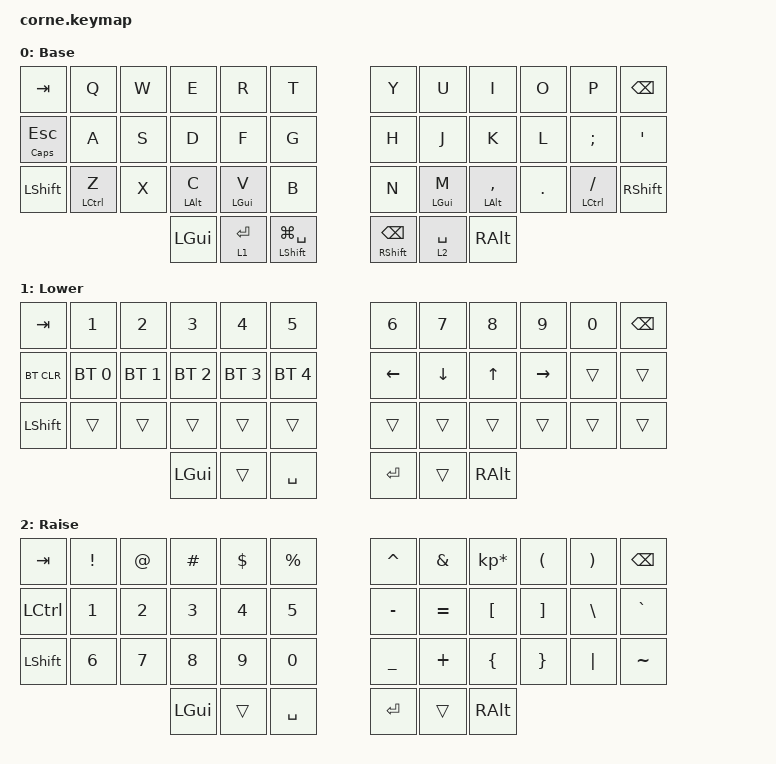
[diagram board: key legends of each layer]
/*
 * Copyright (c) 2020 The ZMK Contributors
 *
 * SPDX-License-Identifier: MIT
 */

#include <behaviors.dtsi>
#include <dt-bindings/zmk/bt.h>
#include <dt-bindings/zmk/keys.h>

/ {
    combos {
        compatible = "zmk,combos";

        Return {
            bindings = <&kp RETURN>;
            key-positions = <21 20>;
            timeout-ms = <40>;
            require-prior-idle-ms = <75>;
        };

        Escape {
            bindings = <&kp ESCAPE>;
            key-positions = <19 20>;
        };

        Backspace {
            bindings = <&kp BACKSPACE>;
            key-positions = <19 21>;
            timeout-ms = <40>;
            require-prior-idle-ms = <75>;
        };

        Delete {
            bindings = <&kp DELETE>;
            key-positions = <21 18>;
            timeout-ms = <40>;
            require-prior-idle-ms = <75>;
        };

        LeaderKey {
            bindings = <&kp F19>;
            key-positions = <16 19>;
            timeout-ms = <40>;
            require-prior-idle-ms = <75>;
        };

        HomerowClick {
            bindings = <&kp LS(LA(LC(LG(SPACE))))>;
            key-positions = <15 20>;
            timeout-ms = <40>;
            require-prior-idle-ms = <75>;
        };

        SelectAll {
            bindings = <&kp LG(A)>;
            key-positions = <16 2>;
            timeout-ms = <40>;
            require-prior-idle-ms = <75>;
        };

        Raycast {
            bindings = <&kp LA(SPACE)>;
            key-positions = <17 18>;
            timeout-ms = <40>;
            require-prior-idle-ms = <75>;
        };

        HomerowScroll {
            bindings = <&kp LA(LG(LC(J)))>;
            key-positions = <15 22>;
            timeout-ms = <40>;
            require-prior-idle-ms = <75>;
        };

        LeftClick {
            bindings = <&kp F16>;
            key-positions = <19 8>;
            timeout-ms = <40>;
            require-prior-idle-ms = <75>;
        };

        RightClick {
            bindings = <&kp F17>;
            key-positions = <19 9>;
            timeout-ms = <40>;
            require-prior-idle-ms = <75>;
        };

        Cut {
            bindings = <&kp LG(X)>;
            key-positions = <2 15>;
            timeout-ms = <40>;
            require-prior-idle-ms = <75>;
        };

        Copy {
            bindings = <&kp LG(C)>;
            key-positions = <15 19>;
            timeout-ms = <40>;
            require-prior-idle-ms = <75>;
        };

        Paste {
            bindings = <&kp LG(V)>;
            key-positions = <15 18>;
            timeout-ms = <40>;
            require-prior-idle-ms = <75>;
        };

        NextApp {
            bindings = <&kp LG(TAB)>;
            key-positions = <16 14>;
            timeout-ms = <40>;
            require-prior-idle-ms = <75>;
        };
    };

    behaviors {
        BMR: BMR {
            compatible = "zmk,behavior-hold-tap";
            label = "BMR";
            bindings = <&kp>, <&kp>;

            #binding-cells = <2>;
            flavor = "tap-preferred";
            tapping-term-ms = <230>;
            quick-tap-ms = <175>;
            hold-trigger-on-release;
            hold-trigger-key-positions = <37 36 38 39 40 41 0 1 2 3 4 5 12 13 14 15 16 17 24 25 26 27 28 29 36 37 38 31 32 33 34>;
        };
    };

    keymap {
        compatible = "zmk,keymap";

        default_layer {
            // -----------------------------------------------------------------------------------------
            // |  TAB |  Q  |  W  |  E  |  R  |  T  |   |  Y  |  U   |  I  |  O  |  P  | BKSP |
            // | CTRL |  A  |  S  |  D  |  F  |  G  |   |  H  |  J   |  K  |  L  |  ;  |  '   |
            // | SHFT |  Z  |  X  |  C  |  V  |  B  |   |  N  |  M   |  ,  |  .  |  /  | ESC  |
            //                    | GUI | LWR | SPC |   | ENT | RSE  | ALT |

            display-name = "Base";
            bindings = <
&kp TAB          &kp Q                &kp W  &kp E            &kp R            &kp T                       &kp Y                      &kp U            &kp I                &kp O    &kp P                   &kp BSPC
&mt CAPS ESCAPE  &kp A                &kp S  &kp D            &kp F            &kp G                       &kp H                      &kp J            &kp K                &kp L    &kp SEMI                &kp SQT
&kp LSHFT        &BMR LEFT_CONTROL Z  &kp X  &BMR LEFT_ALT C  &BMR LEFT_GUI V  &kp B                       &kp N                      &BMR LEFT_GUI M  &BMR LEFT_ALT COMMA  &kp DOT  &BMR LEFT_CONTROL FSLH  &kp RIGHT_SHIFT
                                             &kp LGUI         &lt 1 RETURN     &mt LEFT_SHIFT LG(SPACE)    &mt RIGHT_SHIFT BACKSPACE  &lt 2 SPACE      &kp RALT
            >;
        };

        lower_layer {
            // -----------------------------------------------------------------------------------------
            // |  TAB |  1  |  2  |  3  |  4  |  5  |   |  6  |  7  |  8  |  9  |  0  | BKSP |
            // | BTCLR| BT1 | BT2 | BT3 | BT4 | BT5 |   | LFT | DWN |  UP | RGT |     |      |
            // | SHFT |     |     |     |     |     |   |     |     |     |     |     |      |
            //                    | GUI |     | SPC |   | ENT |     | ALT |

            display-name = "Lower";
            bindings = <
&kp TAB     &kp N1        &kp N2        &kp N3        &kp N4        &kp N5          &kp N6    &kp N7    &kp N8    &kp N9     &kp N0  &kp BSPC
&bt BT_CLR  &bt BT_SEL 0  &bt BT_SEL 1  &bt BT_SEL 2  &bt BT_SEL 3  &bt BT_SEL 4    &kp LEFT  &kp DOWN  &kp UP    &kp RIGHT  &trans  &trans
&kp LSHFT   &trans        &trans        &trans        &trans        &trans          &trans    &trans    &trans    &trans     &trans  &trans
                                        &kp LGUI      &trans        &kp SPACE       &kp RET   &trans    &kp RALT
            >;
        };

        raise_layer {
            // -----------------------------------------------------------------------------------------
            // |  TAB |  !  |  @  |  #  |  $  |  %  |   |  ^  |  &  |  *  |  (  |  )  | BKSP |
            // | CTRL |     |     |     |     |     |   |  -  |  =  |  [  |  ]  |  \  |  `   |
            // | SHFT |     |     |     |     |     |   |  _  |  +  |  {  |  }  | "|" |  ~   |
            //                    | GUI |     | SPC |   | ENT |     | ALT |

            display-name = "Raise";
            bindings = <
&kp TAB    &kp EXCL      &kp AT        &kp HASH      &kp DLLR      &kp PRCNT       &kp CARET  &kp AMPS   &kp KP_MULTIPLY  &kp LPAR  &kp RPAR  &kp BSPC
&kp LCTRL  &kp NUMBER_1  &kp NUMBER_2  &kp NUMBER_3  &kp NUMBER_4  &kp NUMBER_5    &kp MINUS  &kp EQUAL  &kp LBKT         &kp RBKT  &kp BSLH  &kp GRAVE
&kp LSHFT  &kp NUMBER_6  &kp NUMBER_7  &kp NUMBER_8  &kp NUMBER_9  &kp NUMBER_0    &kp UNDER  &kp PLUS   &kp LBRC         &kp RBRC  &kp PIPE  &kp TILDE
                                       &kp LGUI      &trans        &kp SPACE       &kp RET    &trans     &kp RALT
            >;
        };

        extra_1 { status = "reserved"; };

        extra_2 { status = "reserved"; };

        extra_3 { status = "reserved"; };
    };
};
